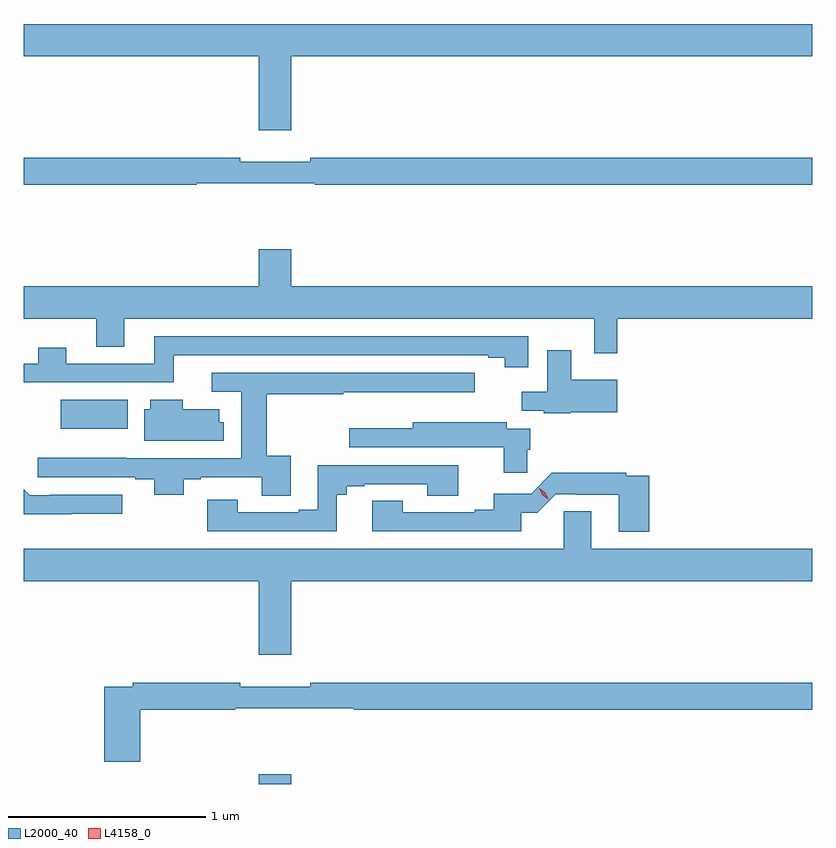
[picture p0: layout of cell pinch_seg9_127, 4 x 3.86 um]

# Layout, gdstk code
import gdstk
lib = gdstk.Library(unit=1e-6, precision=1e-09)
def R(c, l, rs):  # rectangles x0, y0, x1, y1
    for r in rs: c.add(gdstk.rectangle(r[:2], r[2:], *l))
def P(c, l, *ps):  # polygons
    for p in ps: c.add(gdstk.Polygon(p, *l))
L2000_40 = (2000, 40)
L4158_0 = (4158, 0)

pinch_seg9_127 = lib.new_cell('pinch_seg9_127')
R(pinch_seg9_127, L2000_40, [(800.372,1216.703,800.536,1216.753), (799.365,1218.506,799.705,1218.652)])
P(pinch_seg9_127, L2000_40, [(800.536,1220.396),(803.179,1220.396),(803.179,1220.56),(799.179,1220.56),(799.179,1220.396),(800.372,1220.396),(800.372,1220.022),(800.536,1220.022)],
  [(800.055,1219.752),(800.655,1219.752),(800.655,1219.744),(803.179,1219.744),(803.179,1219.88),(800.632,1219.88),(800.632,1219.861),(800.276,1219.861),(800.276,1219.88),(799.179,1219.88),(799.179,1219.744),(800.055,1219.744)],
  [(802.19,1219.064),(803.179,1219.064),(803.179,1219.228),(800.536,1219.228),(800.536,1219.417),(800.372,1219.417),(800.372,1219.228),(799.179,1219.228),(799.179,1219.064),(799.547,1219.064),(799.547,1218.922),(799.687,1218.922),(799.687,1219.064),(802.074,1219.064),(802.074,1218.888),(802.19,1218.888)],
  [(799.94,1218.879),(801.536,1218.879),(801.536,1218.867),(801.618,1218.867),(801.618,1218.819),(801.739,1218.819),(801.739,1218.975),(799.841,1218.975),(799.841,1218.837),(799.393,1218.837),(799.393,1218.916),(799.253,1218.916),(799.253,1218.837),(799.179,1218.837),(799.179,1218.741),(799.94,1218.741)],
  [(801.954,1218.589),(802.189,1218.589),(802.189,1218.754),(801.958,1218.754),(801.958,1218.904),(801.836,1218.904),(801.836,1218.693),(801.705,1218.693),(801.705,1218.597),(801.817,1218.597),(801.817,1218.585),(801.954,1218.585)],
  [(800.532,1218.37),(800.412,1218.37),(800.412,1218.681),(800.8,1218.681),(800.8,1218.692),(801.466,1218.692),(801.466,1218.789),(800.133,1218.789),(800.133,1218.693),(800.282,1218.693),(800.282,1218.357),(799.698,1218.357),(799.698,1218.358),(799.249,1218.358),(799.249,1218.261),(799.745,1218.261),(799.745,1218.249),(799.841,1218.249),(799.841,1218.17),(799.989,1218.17),(799.989,1218.249),(800.077,1218.249),(800.077,1218.261),(800.386,1218.261),(800.386,1218.166),(800.532,1218.166)],
  [(800.194,1218.54),(800.17,1218.54),(800.17,1218.604),(799.986,1218.604),(799.986,1218.652),(799.82,1218.652),(799.82,1218.604),(799.79,1218.604),(799.79,1218.446),(800.194,1218.446)],
  [(801.734,1218.399),(801.749,1218.399),(801.749,1218.507),(801.63,1218.507),(801.63,1218.538),(801.152,1218.538),(801.152,1218.509),(800.829,1218.509),(800.829,1218.411),(801.614,1218.411),(801.614,1218.282),(801.734,1218.282)],
  [(800.767,1218.17),(800.817,1218.17),(800.817,1218.213),(800.905,1218.213),(800.905,1218.225),(801.226,1218.225),(801.226,1218.166),(801.382,1218.166),(801.382,1218.321),(800.67,1218.321),(800.67,1218.096),(800.573,1218.096),(800.573,1218.081),(800.265,1218.081),(800.265,1218.145),(800.109,1218.145),(800.109,1217.985),(800.767,1217.985)],
  [(802.352,1218.267),(802.235,1218.267),(802.235,1218.282),(801.858,1218.282),(801.753,1218.177),(801.563,1218.177),(801.563,1218.094),(801.467,1218.094),(801.467,1218.081),(801.102,1218.081),(801.102,1218.14),(800.946,1218.14),(800.946,1217.985),(801.703,1217.985),(801.703,1218.08),(801.785,1218.08),(801.879,1218.174),(801.979,1218.174),(801.979,1218.171),(802.199,1218.171),(802.199,1217.982),(802.352,1217.982)],
  [(799.418,1218.074),(799.678,1218.074),(799.678,1218.171),(799.309,1218.171),(799.309,1218.168),(799.209,1218.168),(799.179,1218.198),(799.179,1218.072),(799.418,1218.072)],
  [(800.536,1217.732),(803.179,1217.732),(803.179,1217.896),(802.057,1217.896),(802.057,1218.086),(801.918,1218.086),(801.918,1217.896),(799.179,1217.896),(799.179,1217.732),(800.372,1217.732),(800.372,1217.358),(800.536,1217.358)],
  [(799.769,1217.08),(800.252,1217.08),(800.252,1217.088),(800.852,1217.088),(800.852,1217.08),(803.179,1217.08),(803.179,1217.216),(800.632,1217.216),(800.632,1217.197),(800.276,1217.197),(800.276,1217.216),(799.732,1217.216),(799.732,1217.196),(799.586,1217.196),(799.586,1216.815),(799.769,1216.815)])
P(pinch_seg9_127, L4158_0, [(801.839,1218.148),(801.809,1218.17),(801.795,1218.204),(801.795,1218.204),(801.795,1218.204),(801.825,1218.182),(801.84,1218.148),(801.84,1218.148)])

lib.write_gds('pinch_seg9_127.gds')
